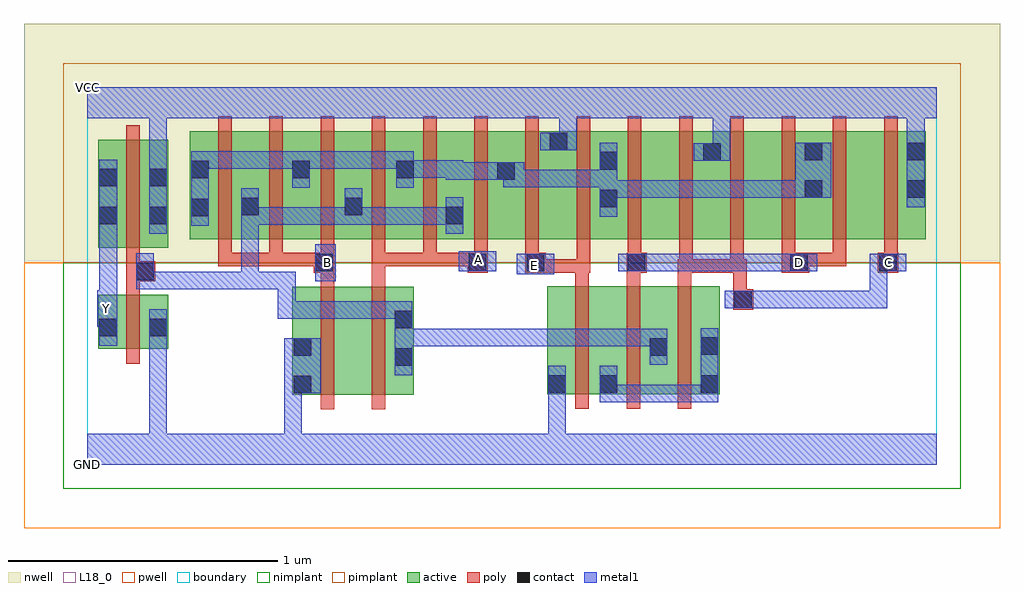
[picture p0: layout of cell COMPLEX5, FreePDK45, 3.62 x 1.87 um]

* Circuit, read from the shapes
.subckt COMPLEX5 A B C D E GND VCC Y
M1 GND n1 Y VSUBS nfet w=0.2u l=0.05u
M2 n2 B GND VSUBS nfet w=0.4u l=0.05u
M3 n1 A n2 VSUBS nfet w=0.4u l=0.05u
M4 n3 E GND VSUBS nfet w=0.4u l=0.05u
M5 n1 D n3 VSUBS nfet w=0.4u l=0.05u
M6 n3 C n1 VSUBS nfet w=0.4u l=0.05u
M7 VCC n1 Y n4 pfet w=0.4u l=0.05u
M8 n1 B n5 n4 pfet w=0.4u l=0.05u m=3
M9 n5 A n1 n4 pfet w=0.4u l=0.05u m=3
M10 VCC E n5 n4 pfet w=0.4u l=0.05u m=2
M11 n6 D n5 n4 pfet w=0.4u l=0.05u
M12 VCC C n6 n4 pfet w=0.4u l=0.05u
M13 n7 C VCC n4 pfet w=0.4u l=0.05u
M14 n5 D n7 n4 pfet w=0.4u l=0.05u
M15 n8 D n5 n4 pfet w=0.4u l=0.05u
M16 VCC C n8 n4 pfet w=0.4u l=0.05u
.ends

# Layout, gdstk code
import gdstk
lib = gdstk.Library(unit=1e-6, precision=1e-09)
def R(c, l, rs):  # rectangles x0, y0, x1, y1
    for r in rs: c.add(gdstk.rectangle(r[:2], r[2:], *l))
def A(c, l, x, y, w, h, nx, ny, dx, dy):  # array of equal rectangles
    R(c, l, [(x+i*dx, y+j*dy, x+i*dx+w, y+j*dy+h) for i in range(nx) for j in range(ny)])
active = (1, 0)
pwell = (2, 0)
nwell = (3, 0)
nimplant = (4, 0)
pimplant = (5, 0)
poly = (9, 0)
contact = (10, 0)
metal1 = (11, 0)
L18_0 = (18, 0)
boundary = (235, 0)

complex5 = lib.new_cell('COMPLEX5')
R(complex5, active, [(0.76,0.26,0.985,0.66), (0.76,0.26,0.835,0.597), (0.985,0.26,1.21,0.66), (1.705,0.262,1.78,0.662), (1.705,0.262,1.97,0.662), (1.895,0.262,2.155,0.662), (1.895,0.262,1.97,0.492), (2.08,0.262,2.345,0.662), (2.27,0.262,2.345,0.662), (1.135,0.295,1.21,0.66), (2.08,0.295,2.155,0.492), (0.04,0.43,0.3,0.63), (0.04,0.43,0.115,0.63), (0.225,0.472,0.3,0.63), (0.04,0.805,0.3,1.205), (0.04,0.805,0.115,1.2), (0.225,0.805,0.3,1.205), (0.38,0.837,0.64,1.237), (0.38,0.837,0.455,1.2), (0.565,0.837,0.83,1.237), (0.565,0.837,0.64,1.07), (0.755,0.837,0.83,1.2), (0.755,0.837,1.025,1.237), (0.95,0.837,1.215,1.237), (0.95,0.837,1.025,1.07), (1.14,0.837,1.4,1.237), (1.14,0.837,1.215,1.2), (1.325,0.837,1.59,1.237), (1.325,0.837,1.4,1.07), (1.515,0.837,1.59,1.2), (1.515,0.837,1.785,1.237), (1.71,0.837,1.785,1.237), (1.71,0.837,1.97,1.237), (1.895,0.837,2.125,1.237), (1.895,0.837,1.97,1.2), (2.125,0.837,2.355,1.237), (2.28,0.837,2.355,1.237), (2.28,0.837,2.505,1.237), (2.505,0.837,2.73,1.237), (2.655,0.837,2.885,1.237), (2.655,0.837,2.73,1.2), (2.885,0.837,3.11,1.237), (3.035,0.837,3.11,1.237)])
R(complex5, pwell, [(-0.235,-0.235,3.385,0.75)])
R(complex5, nwell, [(-0.235,0.75,3.385,1.635)])
R(complex5, nimplant, [(-0.09,-0.09,3.24,0.75)])
R(complex5, pimplant, [(-0.09,0.75,3.24,1.49)])
A(complex5, poly, 1.81, 0.207, 0.05, 0.51, 3, 1, 0.19, 0)
A(complex5, poly, 1.81, 0.667, 0.05, 0.095, 3, 1, 0.19, 0)
A(complex5, poly, 0.485, 0.737, 0.05, 0.095, 7, 1, 0.19, 0)
A(complex5, poly, 2.575, 0.737, 0.05, 0.095, 3, 1, 0.19, 0)
A(complex5, poly, 0.485, 0.782, 0.05, 0.51, 14, 1, 0.19, 0)
R(complex5, poly, [(0.865,0.205,0.915,0.715), (1.055,0.205,1.105,0.715), (0.145,0.375,0.195,0.685), (2.395,0.575,2.47,0.65), (2.395,0.6,2.445,0.762), (0.145,0.635,0.195,0.73), (0.865,0.665,0.915,0.762), (1.055,0.665,1.105,0.787), (0.145,0.68,0.252,0.755), (0.145,0.705,0.195,0.8), (0.84,0.712,0.915,0.787), (1.41,0.712,1.485,0.787), (1.625,0.712,1.7,0.787), (1.65,0.712,1.86,0.762), (1.81,0.712,1.86,0.762), (1.81,0.712,1.86,0.762), (1.81,0.712,1.865,0.762), (1.815,0.712,1.865,0.832), (2,0.712,2.075,0.787), (2.19,0.712,2.245,0.762), (2.195,0.712,2.245,0.832), (2.195,0.712,2.435,0.762), (2.385,0.712,2.435,0.762), (2.385,0.712,2.435,0.762), (2.385,0.712,2.435,0.762), (2.385,0.712,2.435,0.762), (2.385,0.712,2.435,0.832), (2.385,0.712,2.445,0.762), (2.575,0.712,2.677,0.787), (2.932,0.712,3.007,0.787), (0.485,0.737,0.535,0.787), (0.485,0.737,0.535,0.787), (0.485,0.737,0.535,0.787), (0.485,0.737,0.725,0.787), (0.675,0.737,0.725,0.787), (0.675,0.737,0.725,0.787), (0.675,0.737,0.725,0.787), (0.675,0.737,0.89,0.787), (1.055,0.737,1.105,0.787), (1.055,0.737,1.295,0.787), (1.245,0.737,1.295,0.787), (1.245,0.737,1.295,0.787), (1.245,0.737,1.295,0.787), (1.245,0.737,1.46,0.787), (1.41,0.737,1.46,0.787), (1.41,0.737,1.46,0.787), (2.005,0.737,2.055,0.832), (2.627,0.737,2.815,0.787), (2.765,0.737,2.815,0.787), (2.765,0.737,2.815,0.787), (2.765,0.737,2.815,0.787), (0.145,0.75,0.195,1.26)])
R(complex5, contact, [(0.765,0.265,0.83,0.33), (1.71,0.267,1.775,0.332), (1.9,0.267,1.965,0.332), (2.275,0.267,2.34,0.332), (1.14,0.367,1.205,0.432), (0.765,0.405,0.83,0.47), (2.085,0.405,2.15,0.47), (2.275,0.407,2.34,0.472), (0.045,0.477,0.11,0.542), (0.23,0.477,0.295,0.542), (1.14,0.507,1.205,0.572), (2.4,0.58,2.465,0.645), (0.182,0.685,0.247,0.75), (0.845,0.717,0.91,0.782), (1.415,0.717,1.48,0.782), (1.63,0.717,1.695,0.782), (2.005,0.717,2.07,0.782), (2.607,0.717,2.672,0.782), (2.937,0.717,3.002,0.782), (0.045,0.892,0.11,0.957), (0.23,0.892,0.295,0.957), (1.33,0.892,1.395,0.957), (0.385,0.922,0.45,0.987), (0.57,0.925,0.635,0.99), (0.955,0.925,1.02,0.99), (1.9,0.955,1.965,1.02), (2.66,0.99,2.725,1.055), (3.04,0.99,3.105,1.055), (0.045,1.032,0.11,1.097), (0.23,1.032,0.295,1.097), (1.52,1.057,1.585,1.122), (0.385,1.062,0.45,1.127), (0.76,1.062,0.825,1.127), (1.145,1.062,1.21,1.127), (1.9,1.095,1.965,1.16), (2.285,1.127,2.35,1.192), (2.66,1.13,2.725,1.195), (3.04,1.13,3.105,1.195), (1.715,1.167,1.78,1.232)])
R(complex5, metal1, [(0,0,3.15,0.115), (0.23,0.05,0.295,0.115), (0.23,0.05,0.295,0.115), (0.23,0.05,0.295,0.115), (0.23,0.05,0.295,0.115), (0.23,0.05,0.295,0.507), (0.73,0.05,0.795,0.115), (0.73,0.05,0.795,0.115), (0.73,0.05,0.795,0.33), (1.71,0.05,1.775,0.297), (1.71,0.232,1.775,0.297), (1.71,0.232,1.775,0.297), (1.71,0.232,1.775,0.367), (1.9,0.232,1.965,0.367), (1.9,0.232,2.032,0.297), (1.967,0.232,2.032,0.297), (1.967,0.232,2.102,0.297), (2.037,0.232,2.102,0.297), (2.037,0.232,2.242,0.297), (2.177,0.232,2.242,0.297), (2.177,0.232,2.34,0.297), (2.275,0.232,2.34,0.507), (0.73,0.265,0.865,0.47), (1.14,0.332,1.205,0.607), (2.085,0.37,2.15,0.505), (1.14,0.44,1.205,0.505), (1.14,0.44,1.205,0.505), (1.14,0.44,1.395,0.505), (1.33,0.44,1.395,0.505), (1.33,0.44,1.395,0.505), (1.33,0.44,1.395,0.505), (1.33,0.44,1.532,0.505), (1.467,0.44,1.532,0.505), (1.467,0.44,1.532,0.505), (1.467,0.44,1.532,0.505), (1.467,0.44,1.745,0.505), (1.68,0.44,1.745,0.505), (1.68,0.44,1.895,0.505), (1.83,0.44,1.895,0.505), (1.83,0.44,1.895,0.505), (1.83,0.44,1.895,0.505), (1.83,0.44,2.072,0.505), (2.007,0.44,2.072,0.505), (2.007,0.44,2.15,0.505), (0.045,0.442,0.11,0.577), (0.23,0.442,0.295,0.507), (0.23,0.442,0.295,0.507), (0.23,0.442,0.295,0.577), (0.037,0.512,0.11,0.647), (0.045,0.512,0.11,0.577), (0.707,0.542,0.772,0.607), (0.707,0.542,0.772,0.607), (0.707,0.542,0.772,0.607), (0.707,0.542,1.022,0.607), (0.707,0.542,0.772,0.715), (0.957,0.542,1.022,0.607), (0.957,0.542,1.022,0.607), (0.957,0.542,1.022,0.607), (0.957,0.542,1.205,0.607), (2.365,0.58,2.5,0.645), (2.435,0.58,2.5,0.645), (2.435,0.58,2.5,0.645), (2.435,0.58,2.5,0.645), (2.435,0.58,2.5,0.645), (2.435,0.58,2.637,0.645), (2.572,0.58,2.637,0.645), (2.572,0.58,2.83,0.645), (2.765,0.58,2.83,0.645), (2.765,0.58,2.83,0.645), (2.765,0.58,2.83,0.645), (2.765,0.58,2.967,0.645), (2.902,0.58,2.967,0.645), (2.902,0.58,2.967,0.782), (0.045,0.582,0.11,0.922), (0.182,0.65,0.247,0.715), (0.182,0.65,0.247,0.715), (0.182,0.65,0.247,0.785), (0.182,0.65,0.432,0.715), (0.367,0.65,0.432,0.715), (0.367,0.65,0.432,0.715), (0.367,0.65,0.432,0.715), (0.367,0.65,0.635,0.715), (0.57,0.65,0.635,0.715), (0.57,0.65,0.635,0.715), (0.57,0.65,0.635,0.715), (0.57,0.65,0.772,0.715), (0.57,0.65,0.635,0.955), (0.707,0.65,0.772,0.715), (0.845,0.68,0.922,0.817), (1.592,0.707,1.732,0.782), (1.377,0.717,1.517,0.792), (1.97,0.717,2.105,0.782), (2.04,0.717,2.105,0.782), (2.04,0.717,2.105,0.782), (2.04,0.717,2.242,0.782), (2.177,0.717,2.242,0.782), (2.177,0.717,2.242,0.782), (2.177,0.717,2.242,0.782), (2.177,0.717,2.5,0.782), (2.435,0.717,2.5,0.782), (2.435,0.717,2.5,0.782), (2.435,0.717,2.5,0.782), (2.435,0.717,2.637,0.782), (2.572,0.717,2.707,0.782), (2.902,0.717,2.967,0.782), (2.902,0.717,2.967,0.782), (2.902,0.717,3.037,0.782), (0.045,0.857,0.11,1.132), (0.23,0.857,0.295,1.132), (1.33,0.857,1.395,0.992), (0.385,0.887,0.45,1.162), (0.57,0.89,0.635,0.955), (0.57,0.89,0.635,0.955), (0.57,0.89,0.635,1.025), (0.57,0.89,0.882,0.955), (0.817,0.89,0.882,0.955), (0.817,0.89,0.882,0.955), (0.817,0.89,0.882,0.955), (0.817,0.89,1.02,0.955), (0.955,0.89,1.02,0.955), (0.955,0.89,1.02,0.955), (0.955,0.89,1.16,0.955), (0.955,0.89,1.02,1.025), (1.095,0.89,1.16,0.955), (1.095,0.89,1.16,0.955), (1.095,0.89,1.16,0.955), (1.095,0.89,1.395,0.955), (1.9,0.92,1.965,1.195), (3.04,0.955,3.105,1.23), (1.9,0.99,2.102,1.055), (2.037,0.99,2.102,1.055), (2.037,0.99,2.102,1.055), (2.037,0.99,2.102,1.055), (2.037,0.99,2.242,1.055), (2.177,0.99,2.242,1.055), (2.177,0.99,2.242,1.055), (2.177,0.99,2.242,1.055), (2.177,0.99,2.5,1.055), (2.435,0.99,2.5,1.055), (2.435,0.99,2.5,1.055), (2.435,0.99,2.5,1.055), (2.435,0.99,2.69,1.055), (2.625,0.99,2.69,1.055), (2.625,0.99,2.69,1.055), (2.625,0.99,2.76,1.195), (0.76,1.027,0.825,1.162), (1.145,1.027,1.21,1.162), (1.542,1.03,1.607,1.095), (1.542,1.03,1.607,1.095), (1.542,1.03,1.607,1.095), (1.542,1.03,1.757,1.095), (1.542,1.03,1.607,1.122), (1.692,1.03,1.757,1.095), (1.692,1.03,1.757,1.095), (1.692,1.03,1.757,1.095), (1.692,1.03,1.965,1.095), (1.33,1.057,1.55,1.122), (1.33,1.057,1.395,1.13), (1.485,1.057,1.62,1.122), (1.145,1.065,1.21,1.13), (1.145,1.065,1.21,1.13), (1.145,1.065,1.395,1.13), (1.33,1.065,1.395,1.13), (1.33,1.065,1.395,1.13), (0.23,1.067,0.295,1.35), (0.385,1.097,0.45,1.162), (0.385,1.097,0.45,1.162), (0.385,1.097,0.587,1.162), (0.522,1.097,0.587,1.162), (0.522,1.097,0.587,1.162), (0.522,1.097,0.587,1.162), (0.522,1.097,0.825,1.162), (0.76,1.097,0.825,1.162), (0.76,1.097,0.825,1.162), (0.76,1.097,1.02,1.162), (0.955,1.097,1.02,1.162), (0.955,1.097,1.02,1.162), (0.955,1.097,1.02,1.162), (0.955,1.097,1.21,1.162), (2.25,1.127,2.385,1.192), (2.32,1.127,2.385,1.35), (3.04,1.165,3.105,1.35), (1.68,1.167,1.815,1.232), (1.75,1.167,1.815,1.35), (0,1.285,3.15,1.4)])
R(complex5, L18_0, [(0,0,3.15,0.115), (0.23,0.05,0.295,0.115), (0.23,0.05,0.295,0.115), (0.23,0.05,0.295,0.115), (0.23,0.05,0.295,0.115), (0.23,0.05,0.295,0.507), (0.73,0.05,0.795,0.115), (0.73,0.05,0.795,0.115), (0.73,0.05,0.795,0.33), (1.71,0.05,1.775,0.297), (1.71,0.232,1.775,0.367), (1.71,0.232,1.775,0.297), (1.71,0.232,1.775,0.297), (0.73,0.265,0.865,0.47), (0.045,0.442,0.11,0.577), (0.23,0.442,0.295,0.577), (0.23,0.442,0.295,0.507), (0.23,0.442,0.295,0.507), (0.037,0.512,0.11,0.647), (0.045,0.512,0.11,0.577), (0.037,0.547,0.102,0.612), (2.365,0.58,2.5,0.645), (2.435,0.58,2.5,0.645), (2.435,0.58,2.5,0.645), (2.435,0.58,2.5,0.645), (2.435,0.58,2.5,0.645), (2.435,0.58,2.637,0.645), (2.572,0.58,2.637,0.645), (2.572,0.58,2.83,0.645), (2.765,0.58,2.83,0.645), (2.765,0.58,2.83,0.645), (2.765,0.58,2.83,0.645), (2.765,0.58,2.967,0.645), (2.902,0.58,2.967,0.645), (2.902,0.58,2.967,0.782), (0.045,0.582,0.11,0.922), (0.845,0.68,0.922,0.817), (1.592,0.707,1.732,0.782), (1.627,0.707,1.692,0.772), (0.857,0.717,0.922,0.782), (1.377,0.717,1.517,0.792), (1.97,0.717,2.105,0.782), (2.04,0.717,2.105,0.782), (2.04,0.717,2.105,0.782), (2.04,0.717,2.242,0.782), (2.177,0.717,2.242,0.782), (2.177,0.717,2.242,0.782), (2.177,0.717,2.242,0.782), (2.177,0.717,2.5,0.782), (2.435,0.717,2.5,0.782), (2.435,0.717,2.5,0.782), (2.435,0.717,2.5,0.782), (2.435,0.717,2.637,0.782), (2.572,0.717,2.707,0.782), (2.607,0.717,2.672,0.782), (2.902,0.717,2.967,0.782), (2.902,0.717,2.967,0.782), (2.902,0.717,3.037,0.782), (2.937,0.717,3.002,0.782), (1.417,0.727,1.482,0.792), (0.045,0.857,0.11,1.132), (0.23,0.857,0.295,1.132), (3.04,0.955,3.105,1.23), (0.23,1.067,0.295,1.35), (2.25,1.127,2.385,1.192), (2.32,1.127,2.385,1.35), (3.04,1.165,3.105,1.35), (1.68,1.167,1.815,1.232), (1.75,1.167,1.815,1.35), (0,1.285,3.15,1.4)])
R(complex5, boundary, [(0,0,3.15,1.4)])
complex5.add(gdstk.Label('A', (1.45,0.76), layer=11, texttype=0))
complex5.add(gdstk.Label('B', (0.89,0.75), layer=11, texttype=0))
complex5.add(gdstk.Label('C', (2.97,0.75), layer=11, texttype=0))
complex5.add(gdstk.Label('D', (2.64,0.75), layer=11, texttype=0))
complex5.add(gdstk.Label('E', (1.66,0.74), layer=11, texttype=0))
complex5.add(gdstk.Label('Y', (0.07,0.58), layer=11, texttype=0))
complex5.add(gdstk.Label('VCC', (0,1.4), layer=11, texttype=0))
complex5.add(gdstk.Label('GND', (0,0), layer=11, texttype=0))

lib.write_gds('COMPLEX5.gds')
